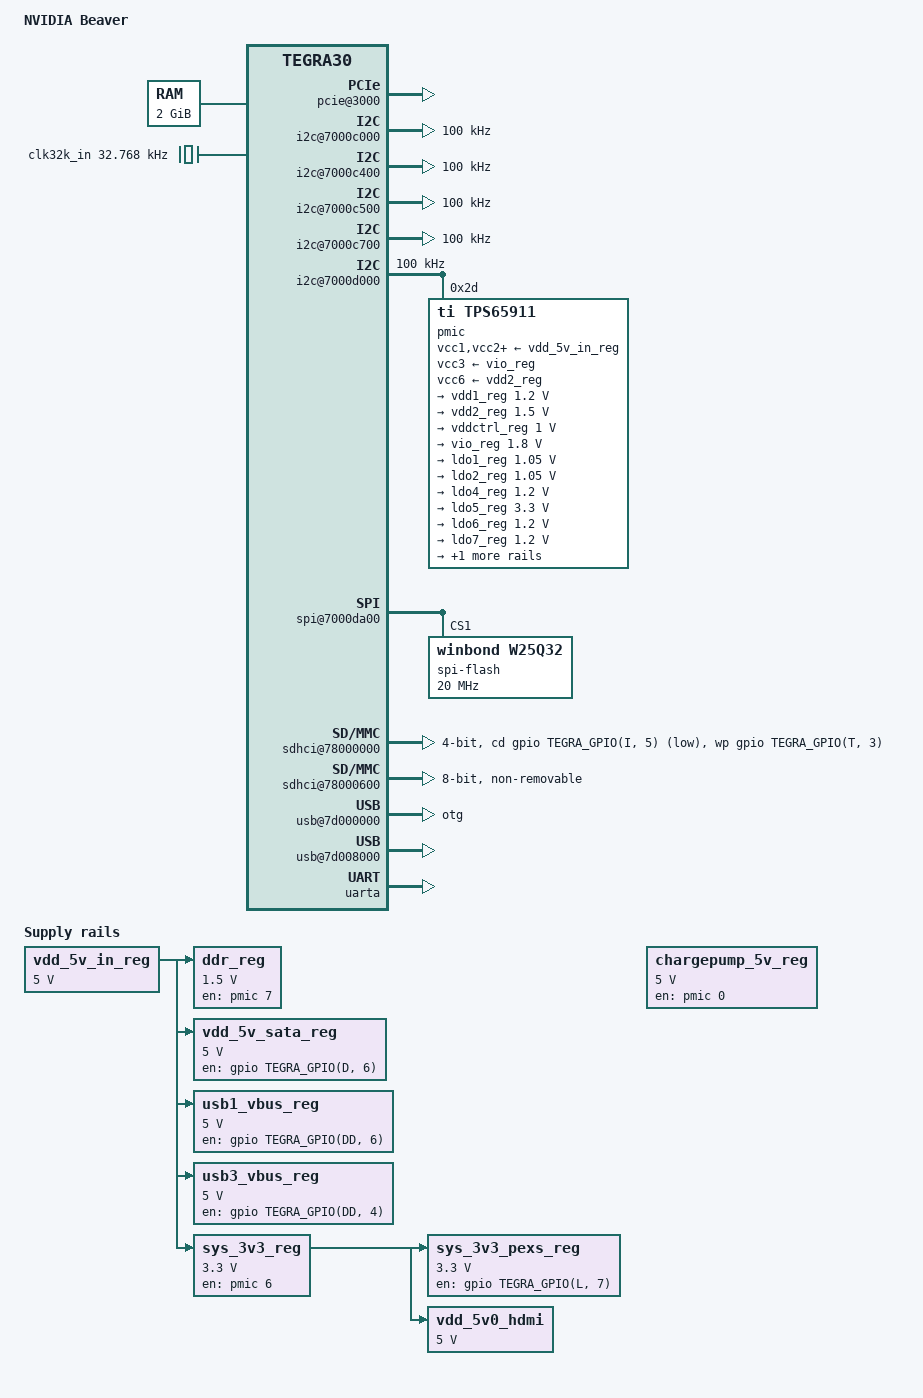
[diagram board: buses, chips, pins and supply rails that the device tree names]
/dts-v1/;

#include "tegra30.dtsi"

/ {
	model = "NVIDIA Beaver";
	compatible = "nvidia,beaver", "nvidia,tegra30";

	chosen {
		stdout-path = &uarta;
	};

	aliases {
		i2c0 = "/i2c@7000d000";
		i2c1 = "/i2c@7000c000";
		i2c2 = "/i2c@7000c400";
		i2c3 = "/i2c@7000c500";
		i2c4 = "/i2c@7000c700";
		mmc0 = "/sdhci@78000600";
		mmc1 = "/sdhci@78000000";
		spi0 = "/spi@7000da00";
		usb0 = "/usb@7d000000";
		usb1 = "/usb@7d008000";
	};

	memory {
		device_type = "memory";
		reg = <0x80000000 0x7ff00000>;
	};

	pcie@3000 {
		status = "okay";

		avdd-pexa-supply = <&ldo1_reg>;
		vdd-pexa-supply = <&ldo1_reg>;
		avdd-pexb-supply = <&ldo1_reg>;
		vdd-pexb-supply = <&ldo1_reg>;
		avdd-pex-pll-supply = <&ldo1_reg>;
		avdd-plle-supply = <&ldo1_reg>;
		vddio-pex-ctl-supply = <&sys_3v3_reg>;
		hvdd-pex-supply = <&sys_3v3_pexs_reg>;

		pci@1,0 {
			status = "okay";
			nvidia,num-lanes = <2>;
		};

		pci@2,0 {
			nvidia,num-lanes = <2>;
		};

		pci@3,0 {
			status = "okay";
			nvidia,num-lanes = <2>;
		};
	};

	i2c@7000c000 {
		status = "okay";
		clock-frequency = <100000>;
	};

	i2c@7000c400 {
		status = "okay";
		clock-frequency = <100000>;
	};

	i2c@7000c500 {
		status = "okay";
		clock-frequency = <100000>;
	};

	i2c@7000c700 {
		status = "okay";
		clock-frequency = <100000>;
	};

	i2c@7000d000 {
		status = "okay";
		clock-frequency = <100000>;

		pmic: tps65911@2d {
			compatible = "ti,tps65911";
			reg = <0x2d>;

			interrupts = <GIC_SPI 86 IRQ_TYPE_LEVEL_HIGH>;
			#interrupt-cells = <2>;
			interrupt-controller;

			ti,system-power-controller;

			#gpio-cells = <2>;
			gpio-controller;

			vcc1-supply = <&vdd_5v_in_reg>;
			vcc2-supply = <&vdd_5v_in_reg>;
			vcc3-supply = <&vio_reg>;
			vcc4-supply = <&vdd_5v_in_reg>;
			vcc5-supply = <&vdd_5v_in_reg>;
			vcc6-supply = <&vdd2_reg>;
			vcc7-supply = <&vdd_5v_in_reg>;
			vccio-supply = <&vdd_5v_in_reg>;

			regulators {
				vdd1_reg: vdd1 {
					regulator-name = "vddio_ddr_1v2";
					regulator-min-microvolt = <1200000>;
					regulator-max-microvolt = <1200000>;
					regulator-always-on;
				};

				vdd2_reg: vdd2 {
					regulator-name = "vdd_1v5_gen";
					regulator-min-microvolt = <1500000>;
					regulator-max-microvolt = <1500000>;
					regulator-always-on;
				};

				vddctrl_reg: vddctrl {
					regulator-name = "vdd_cpu,vdd_sys";
					regulator-min-microvolt = <1000000>;
					regulator-max-microvolt = <1000000>;
					regulator-always-on;
				};

				vio_reg: vio {
					regulator-name = "vdd_1v8_gen";
					regulator-min-microvolt = <1800000>;
					regulator-max-microvolt = <1800000>;
					regulator-always-on;
				};

				ldo1_reg: ldo1 {
					regulator-name = "vdd_pexa,vdd_pexb";
					regulator-min-microvolt = <1050000>;
					regulator-max-microvolt = <1050000>;
				};

				ldo2_reg: ldo2 {
					regulator-name = "vdd_sata,avdd_plle";
					regulator-min-microvolt = <1050000>;
					regulator-max-microvolt = <1050000>;
				};

				/* LDO3 is not connected to anything */

				ldo4_reg: ldo4 {
					regulator-name = "vdd_rtc";
					regulator-min-microvolt = <1200000>;
					regulator-max-microvolt = <1200000>;
					regulator-always-on;
				};

				ldo5_reg: ldo5 {
					regulator-name = "vddio_sdmmc,avdd_vdac";
					regulator-min-microvolt = <3300000>;
					regulator-max-microvolt = <3300000>;
					regulator-always-on;
				};

				ldo6_reg: ldo6 {
					regulator-name = "avdd_dsi_csi,pwrdet_mipi";
					regulator-min-microvolt = <1200000>;
					regulator-max-microvolt = <1200000>;
				};

				ldo7_reg: ldo7 {
					regulator-name = "vdd_pllm,x,u,a_p_c_s";
					regulator-min-microvolt = <1200000>;
					regulator-max-microvolt = <1200000>;
					regulator-always-on;
				};

				ldo8_reg: ldo8 {
					regulator-name = "vdd_ddr_hs";
					regulator-min-microvolt = <1000000>;
					regulator-max-microvolt = <1000000>;
					regulator-always-on;
				};
			};
		};
	};

	spi@7000da00 {
		status = "okay";
		spi-max-frequency = <25000000>;
		spi-flash@1 {
			compatible = "winbond,w25q32";
			reg = <1>;
			spi-max-frequency = <20000000>;
		};
	};

	sdhci@78000000 {
		status = "okay";
		cd-gpios = <&gpio TEGRA_GPIO(I, 5) GPIO_ACTIVE_LOW>;
		wp-gpios = <&gpio TEGRA_GPIO(T, 3) GPIO_ACTIVE_HIGH>;
		power-gpios = <&gpio TEGRA_GPIO(D, 7) GPIO_ACTIVE_HIGH>;
		bus-width = <4>;
	};

	sdhci@78000600 {
		status = "okay";
		bus-width = <8>;
		non-removable;
	};

	usb@7d000000 {
		status = "okay";
		dr_mode = "otg";
		nvidia,vbus-gpio = <&gpio TEGRA_GPIO(DD, 6) GPIO_ACTIVE_HIGH>;
	};

	usb@7d008000 {
		nvidia,vbus-gpio = <&gpio TEGRA_GPIO(DD, 4) GPIO_ACTIVE_HIGH>;
		status = "okay";
	};

	clocks {
		compatible = "simple-bus";
		#address-cells = <1>;
		#size-cells = <0>;

		clk32k_in: clock@0 {
			compatible = "fixed-clock";
			reg=<0>;
			#clock-cells = <0>;
			clock-frequency = <32768>;
		};
	};

	regulators {
		compatible = "simple-bus";
		#address-cells = <1>;
		#size-cells = <0>;

		vdd_5v_in_reg: regulator@0 {
			compatible = "regulator-fixed";
			reg = <0>;
			regulator-name = "vdd_5v_in";
			regulator-min-microvolt = <5000000>;
			regulator-max-microvolt = <5000000>;
			regulator-always-on;
		};

		chargepump_5v_reg: regulator@1 {
			compatible = "regulator-fixed";
			reg = <1>;
			regulator-name = "chargepump_5v";
			regulator-min-microvolt = <5000000>;
			regulator-max-microvolt = <5000000>;
			regulator-boot-on;
			regulator-always-on;
			enable-active-high;
			gpio = <&pmic 0 GPIO_ACTIVE_HIGH>;
		};

		ddr_reg: regulator@2 {
			compatible = "regulator-fixed";
			reg = <2>;
			regulator-name = "vdd_ddr";
			regulator-min-microvolt = <1500000>;
			regulator-max-microvolt = <1500000>;
			regulator-always-on;
			regulator-boot-on;
			enable-active-high;
			gpio = <&pmic 7 GPIO_ACTIVE_HIGH>;
			vin-supply = <&vdd_5v_in_reg>;
		};

		vdd_5v_sata_reg: regulator@3 {
			compatible = "regulator-fixed";
			reg = <3>;
			regulator-name = "vdd_5v_sata";
			regulator-min-microvolt = <5000000>;
			regulator-max-microvolt = <5000000>;
			regulator-always-on;
			regulator-boot-on;
			enable-active-high;
			gpio = <&gpio TEGRA_GPIO(D, 6) GPIO_ACTIVE_HIGH>;
			vin-supply = <&vdd_5v_in_reg>;
		};

		usb1_vbus_reg: regulator@4 {
			compatible = "regulator-fixed";
			reg = <4>;
			regulator-name = "usb1_vbus";
			regulator-min-microvolt = <5000000>;
			regulator-max-microvolt = <5000000>;
			enable-active-high;
			gpio = <&gpio TEGRA_GPIO(DD, 6) GPIO_ACTIVE_HIGH>;
			gpio-open-drain;
			vin-supply = <&vdd_5v_in_reg>;
		};

		usb3_vbus_reg: regulator@5 {
			compatible = "regulator-fixed";
			reg = <5>;
			regulator-name = "usb3_vbus";
			regulator-min-microvolt = <5000000>;
			regulator-max-microvolt = <5000000>;
			enable-active-high;
			gpio = <&gpio TEGRA_GPIO(DD, 4) GPIO_ACTIVE_HIGH>;
			gpio-open-drain;
			vin-supply = <&vdd_5v_in_reg>;
		};

		sys_3v3_reg: regulator@6 {
			compatible = "regulator-fixed";
			reg = <6>;
			regulator-name = "sys_3v3,vdd_3v3_alw";
			regulator-min-microvolt = <3300000>;
			regulator-max-microvolt = <3300000>;
			regulator-always-on;
			regulator-boot-on;
			enable-active-high;
			gpio = <&pmic 6 GPIO_ACTIVE_HIGH>;
			vin-supply = <&vdd_5v_in_reg>;
		};

		sys_3v3_pexs_reg: regulator@7 {
			compatible = "regulator-fixed";
			reg = <7>;
			regulator-name = "sys_3v3_pexs";
			regulator-min-microvolt = <3300000>;
			regulator-max-microvolt = <3300000>;
			regulator-always-on;
			regulator-boot-on;
			enable-active-high;
			gpio = <&gpio TEGRA_GPIO(L, 7) GPIO_ACTIVE_HIGH>;
			vin-supply = <&sys_3v3_reg>;
		};

		vdd_5v0_hdmi: regulator@8 {
			compatible = "regulator-fixed";
			reg = <8>;
			regulator-name = "+VDD_5V_HDMI";
			regulator-min-microvolt = <5000000>;
			regulator-max-microvolt = <5000000>;
			regulator-always-on;
			regulator-boot-on;
			vin-supply = <&sys_3v3_reg>;
		};
	};
};

&uarta {
	status = "okay";
};
